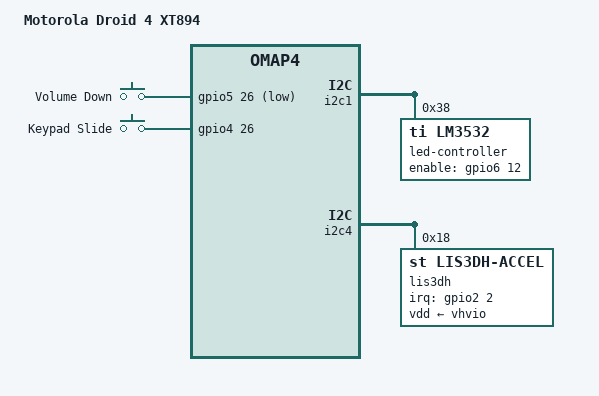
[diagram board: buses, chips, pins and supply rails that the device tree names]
// SPDX-License-Identifier: GPL-2.0-only
/dts-v1/;

#include "motorola-mapphone-common.dtsi"

/ {
	gpio_keys {
		compatible = "gpio-keys";

		volume_down {
			label = "Volume Down";
			gpios = <&gpio5 26 GPIO_ACTIVE_LOW>; /* gpio154 */
			linux,code = <KEY_VOLUMEDOWN>;
			linux,can-disable;
			/* Value above 7.95ms for no GPIO hardware debounce */
			debounce-interval = <10>;
		};

		/*
		 * We use pad 0x4a100116 abe_dmic_din3.gpio_122 as the irq instead
		 * of the gpio interrupt to avoid lost events in deeper idle states.
		*/
		slider {
			label = "Keypad Slide";
			interrupts-extended = <&omap4_pmx_core 0xd6>;
			gpios = <&gpio4 26 GPIO_ACTIVE_HIGH>; /* gpio122 */
			linux,input-type = <EV_SW>;
			linux,code = <SW_KEYPAD_SLIDE>;
			linux,can-disable;
			/* Value above 7.95ms for no GPIO hardware debounce */
			debounce-interval = <10>;
		};
	};
};

/ {
	model = "Motorola Droid 4 XT894";
	compatible = "motorola,droid4", "ti,omap4430", "ti,omap4";
};

&keypad {
	keypad,num-rows = <8>;
	keypad,num-columns = <8>;
	linux,keymap = <

	/* Row 1 */
	MATRIX_KEY(0, 2, KEY_1)
	MATRIX_KEY(0, 6, KEY_2)
	MATRIX_KEY(2, 3, KEY_3)
	MATRIX_KEY(0, 7, KEY_4)
	MATRIX_KEY(0, 4, KEY_5)
	MATRIX_KEY(5, 5, KEY_6)
	MATRIX_KEY(0, 1, KEY_7)
	MATRIX_KEY(0, 5, KEY_8)
	MATRIX_KEY(0, 0, KEY_9)
	MATRIX_KEY(1, 6, KEY_0)

	/* Row 2 */
	MATRIX_KEY(3, 4, KEY_APOSTROPHE)
	MATRIX_KEY(7, 6, KEY_Q)
	MATRIX_KEY(7, 7, KEY_W)
	MATRIX_KEY(7, 2, KEY_E)
	MATRIX_KEY(1, 0, KEY_R)
	MATRIX_KEY(4, 4, KEY_T)
	MATRIX_KEY(1, 2, KEY_Y)
	MATRIX_KEY(6, 7, KEY_U)
	MATRIX_KEY(2, 2, KEY_I)
	MATRIX_KEY(5, 6, KEY_O)
	MATRIX_KEY(3, 7, KEY_P)
	MATRIX_KEY(6, 5, KEY_BACKSPACE)

	/* Row 3 */
	MATRIX_KEY(5, 4, KEY_TAB)
	MATRIX_KEY(5, 7, KEY_A)
	MATRIX_KEY(2, 7, KEY_S)
	MATRIX_KEY(7, 0, KEY_D)
	MATRIX_KEY(2, 6, KEY_F)
	MATRIX_KEY(6, 2, KEY_G)
	MATRIX_KEY(6, 6, KEY_H)
	MATRIX_KEY(1, 4, KEY_J)
	MATRIX_KEY(3, 1, KEY_K)
	MATRIX_KEY(2, 1, KEY_L)
	MATRIX_KEY(4, 6, KEY_ENTER)

	/* Row 4 */
	MATRIX_KEY(3, 6, KEY_LEFTSHIFT)		/* KEY_CAPSLOCK */
	MATRIX_KEY(6, 1, KEY_Z)
	MATRIX_KEY(7, 4, KEY_X)
	MATRIX_KEY(5, 1, KEY_C)
	MATRIX_KEY(1, 7, KEY_V)
	MATRIX_KEY(2, 4, KEY_B)
	MATRIX_KEY(4, 1, KEY_N)
	MATRIX_KEY(1, 1, KEY_M)
	MATRIX_KEY(3, 5, KEY_COMMA)
	MATRIX_KEY(5, 2, KEY_DOT)
	MATRIX_KEY(6, 3, KEY_UP)
	MATRIX_KEY(7, 3, KEY_OK)

	/* Row 5 */
	MATRIX_KEY(2, 5, KEY_LEFTCTRL)		/* KEY_LEFTSHIFT */
	MATRIX_KEY(4, 5, KEY_LEFTALT)		/* SYM */
	MATRIX_KEY(6, 0, KEY_MINUS)
	MATRIX_KEY(4, 7, KEY_EQUAL)
	MATRIX_KEY(1, 5, KEY_SPACE)
	MATRIX_KEY(3, 2, KEY_SLASH)
	MATRIX_KEY(4, 3, KEY_LEFT)
	MATRIX_KEY(5, 3, KEY_DOWN)
	MATRIX_KEY(3, 3, KEY_RIGHT)

	/* Side buttons, KEY_VOLUMEDOWN and KEY_PWER are on CPCAP? */
	MATRIX_KEY(5, 0, KEY_VOLUMEUP)
	>;
};

&i2c1 {
	led-controller@38 {
		compatible = "ti,lm3532";
		#address-cells = <1>;
		#size-cells = <0>;
		reg = <0x38>;

		enable-gpios = <&gpio6 12 GPIO_ACTIVE_HIGH>;

		ramp-up-us = <1024>;
		ramp-down-us = <8193>;

		backlight_led: led@0 {
			reg = <0>;
			led-sources = <2>;
			ti,led-mode = <0>;
			label = ":backlight";
		};

		led@1 {
			reg = <1>;
			led-sources = <1>;
			ti,led-mode = <0>;
			label = ":kbd_backlight";
		};
	};
};

&i2c4 {
	lis3dh: accelerometer@18 {
		compatible = "st,lis3dh-accel";
		reg = <0x18>;

		vdd-supply = <&vhvio>;

		interrupt-parent = <&gpio2>;
		interrupts = <2 IRQ_TYPE_EDGE_BOTH>; /* gpio34 */

		rotation-matrix = "0", "-1", "0",
				  "1", "0", "0",
				  "0", "0", "1";
	};
};
